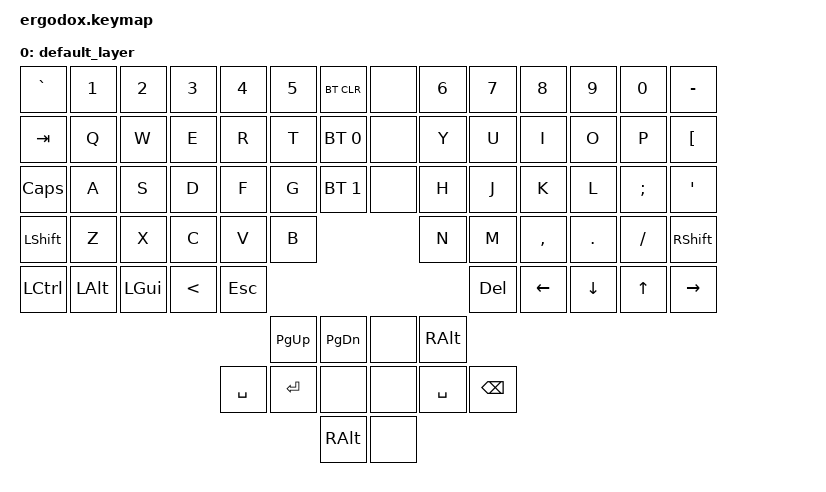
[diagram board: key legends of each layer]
/*
 * Copyright (c) 2020 The ZMK Contributors
 *
 * SPDX-License-Identifier: MIT
 */

#include <behaviors.dtsi>
#include <dt-bindings/zmk/keys.h>
#include <dt-bindings/zmk/bt.h>
#include <dt-bindings/zmk/outputs.h>

#define HYPER(key) LS(LC(LA(LG(key))))

#define BASE 0
#define NUMB 1
#define SYMB 2
#define MEDI 3

/ {
    behaviors {
        hm: homerow_mods {
            compatible = "zmk,behavior-hold-tap";
            label = "HOMEROW_MODS";
            #binding-cells = <2>;
            tapping-term-ms = <250>;
            quick-tap-ms = <200>;
            flavor = "tap-preferred";
            global-quick-tap;
            bindings = <&kp>, <&kp>;
        };
        mlt: my_layer_tap {
            compatible = "zmk,behavior-hold-tap";
            label = "MY_LAYER_TAP";
            #binding-cells = <2>;
            tapping-term-ms = <200>;
            quick-tap-ms = <125>;
            flavor = "tap-preferred";
            global-quick-tap;
            bindings = <&mo>, <&kp>;
        };
        
    };

    keymap {
        compatible = "zmk,keymap";

        default_layer {
			bindings = <
            &kp GRAVE   &kp N1      &kp   N2    &kp   N3     &kp    N4     &kp N5    &bt BT_CLR           &none     &kp N6  &kp N7       &kp N8       &kp N9    &kp  N0      &kp MINUS
            &kp TAB     &kp  Q      &kp   W    &kp    E     &kp     R     &kp  T     &bt BT_SEL 0         &none     &kp Y   &kp U        &kp I        &kp  O    &kp  P       &kp LBKT
            &kp CAPS    &kp  A      &kp   S    &kp    D     &kp     F     &kp  G     &bt BT_SEL 1         &none     &kp H   &kp J        &kp K        &kp  L    &kp SEMI     &kp APOS
            &kp LSHFT   &kp  Z      &kp   X    &kp    C     &kp     V     &kp  B                                    &kp N   &kp M        &kp COMMA    &kp DOT   &kp FSLH     &kp RSHFT
            &kp LCTRL   &kp LALT    &kp LGUI   &kp LT       &kp ESC                                                         &kp DELETE   &kp LEFT     &kp DOWN  &kp UP       &kp RIGHT 
                                                                          &kp PG_UP  &kp PG_DN            &none     &kp RALT
                                                            &kp SPACE     &kp ENTER  &none                &none     &kp SPACE &kp BSPC 
                                                                                     &kp RALT             &none
			>;
        };

        /*
        empty {
			bindings = <
            &none &none &none &none &none &none &none    &none &none &none &none &none &none &none
            &none &none &none &none &none &none &none    &none &none &none &none &none &none &none
            &none &none &none &none &none &none &none    &none &none &none &none &none &none &none
            &none &none &none &none &none &none                &none &none &none &none &none &none
            &none &none &none &none &none                            &none &none &none &none &none
                                          &none &none    &none &none
                                    &none &none &none    &none &none &none
                                                &none    &none
			>;
        };
        */
    };
};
